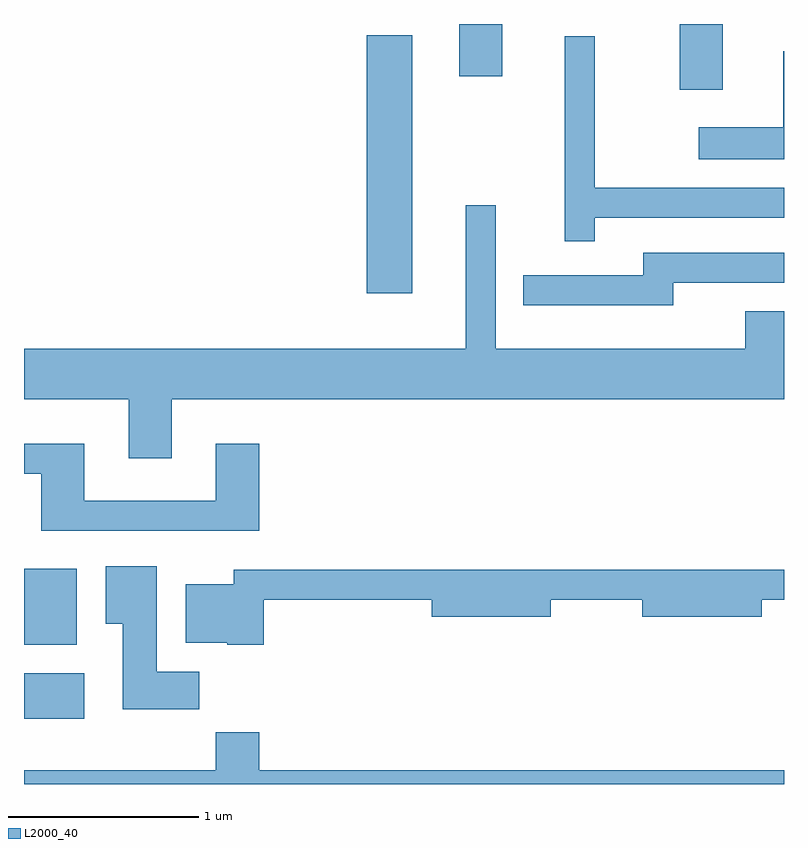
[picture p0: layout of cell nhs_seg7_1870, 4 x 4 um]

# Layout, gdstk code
import gdstk
lib = gdstk.Library(unit=1e-6, precision=1e-09)
def R(c, l, rs):  # rectangles x0, y0, x1, y1
    for r in rs: c.add(gdstk.rectangle(r[:2], r[2:], *l))
def P(c, l, *ps):  # polygons
    for p in ps: c.add(gdstk.Polygon(p, *l))
L2000_40 = (2000, 40)

nhs_seg7_1870 = lib.new_cell('nhs_seg7_1870')
R(nhs_seg7_1870, L2000_40, [(241.611,1752.596,241.929,1752.834), (241.611,1752.986,241.889,1753.384), (243.416,1754.836,243.654,1756.194), (245.061,1755.906,245.289,1756.252), (243.901,1755.976,244.129,1756.252)])
P(nhs_seg7_1870, L2000_40, [(244.614,1755.231),(245.611,1755.231),(245.611,1755.389),(244.614,1755.389),(244.614,1756.188),(244.456,1756.188),(244.456,1755.108),(244.614,1755.108)],
  [(245.611,1756.109),(245.606,1756.109),(245.606,1755.709),(245.163,1755.709),(245.163,1755.541),(245.611,1755.541)],
  [(242.389,1754.276),(245.611,1754.276),(245.611,1754.739),(245.406,1754.739),(245.406,1754.544),(244.094,1754.544),(244.094,1755.298),(243.936,1755.298),(243.936,1754.544),(241.611,1754.544),(241.611,1754.276),(242.161,1754.276),(242.161,1753.966),(242.389,1753.966)],
  [(245.029,1754.891),(245.611,1754.891),(245.611,1755.049),(244.871,1755.049),(244.871,1754.929),(244.238,1754.929),(244.238,1754.771),(245.029,1754.771)],
  [(242.849,1754.044),(242.621,1754.044),(242.621,1753.744),(241.929,1753.744),(241.929,1754.044),(241.611,1754.044),(241.611,1753.886),(241.701,1753.886),(241.701,1753.586),(242.849,1753.586)],
  [(242.534,1752.844),(242.309,1752.844),(242.309,1753.399),(242.041,1753.399),(242.041,1753.096),(242.131,1753.096),(242.131,1752.646),(242.534,1752.646)],
  [(242.874,1753.221),(243.756,1753.221),(243.756,1753.131),(244.384,1753.131),(244.384,1753.221),(244.866,1753.221),(244.866,1753.131),(245.494,1753.131),(245.494,1753.221),(245.611,1753.221),(245.611,1753.379),(242.716,1753.379),(242.716,1753.304),(242.461,1753.304),(242.461,1752.996),(242.68,1752.996),(242.68,1752.986),(242.874,1752.986)],
  [(242.849,1752.524),(242.621,1752.524),(242.621,1752.324),(241.611,1752.324),(241.611,1752.252),(245.611,1752.252),(245.611,1752.324),(242.849,1752.324)])

lib.write_gds('nhs_seg7_1870.gds')
